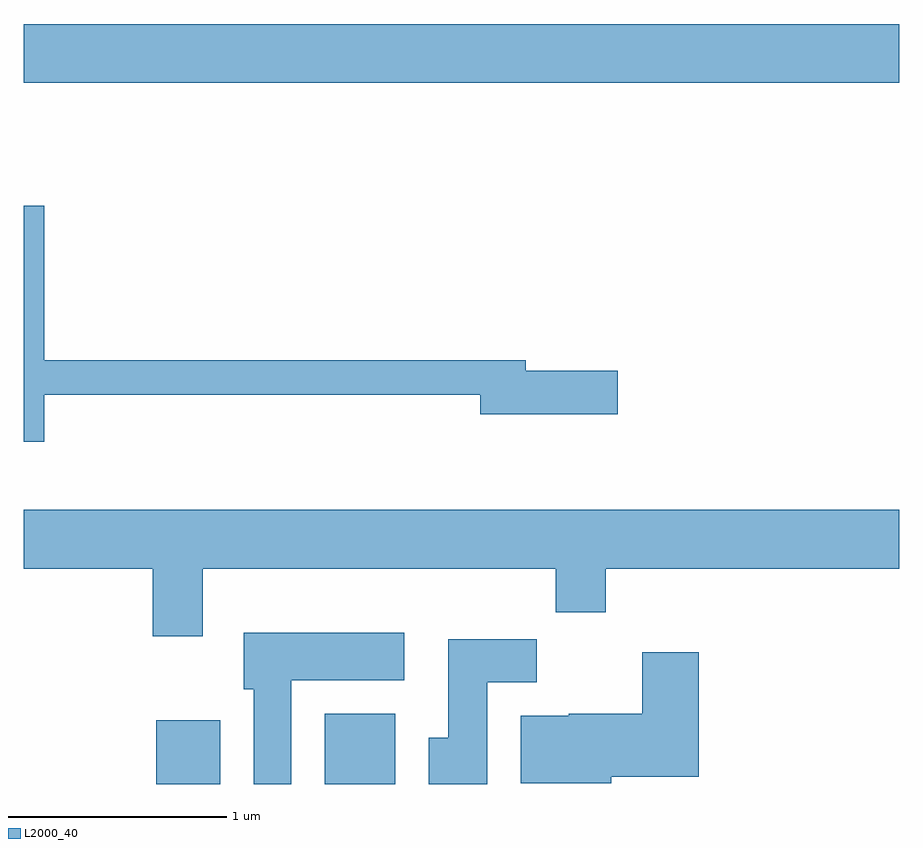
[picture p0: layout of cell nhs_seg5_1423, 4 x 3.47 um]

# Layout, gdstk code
import gdstk
lib = gdstk.Library(unit=1e-6, precision=1e-09)
def R(c, l, rs):  # rectangles x0, y0, x1, y1
    for r in rs: c.add(gdstk.rectangle(r[:2], r[2:], *l))
def P(c, l, *ps):  # polygons
    for p in ps: c.add(gdstk.Polygon(p, *l))
L2000_40 = (2000, 40)

nhs_seg5_1423 = lib.new_cell('nhs_seg5_1423')
R(nhs_seg5_1423, L2000_40, [(228.216,1418.072,228.509,1418.364), (228.986,1418.072,229.309,1418.394), (227.611,1421.276,231.611,1421.544)])
P(nhs_seg5_1423, L2000_40, [(227.704,1419.851),(229.696,1419.851),(229.696,1419.761),(230.324,1419.761),(230.324,1419.959),(229.904,1419.959),(229.904,1420.009),(227.704,1420.009),(227.704,1420.714),(227.611,1420.714),(227.611,1419.636),(227.704,1419.636)],
  [(228.429,1419.056),(230.041,1419.056),(230.041,1418.856),(230.269,1418.856),(230.269,1419.056),(231.611,1419.056),(231.611,1419.324),(227.611,1419.324),(227.611,1419.056),(228.201,1419.056),(228.201,1418.746),(228.429,1418.746)],
  [(228.834,1418.546),(229.349,1418.546),(229.349,1418.764),(228.616,1418.764),(228.616,1418.506),(228.661,1418.506),(228.661,1418.072),(228.834,1418.072)],
  [(229.729,1418.536),(229.954,1418.536),(229.954,1418.734),(229.551,1418.734),(229.551,1418.284),(229.461,1418.284),(229.461,1418.072),(229.729,1418.072)],
  [(230.294,1418.106),(230.694,1418.106),(230.694,1418.674),(230.436,1418.674),(230.436,1418.394),(230.1,1418.394),(230.1,1418.384),(229.881,1418.384),(229.881,1418.076),(230.294,1418.076)])

lib.write_gds('nhs_seg5_1423.gds')
